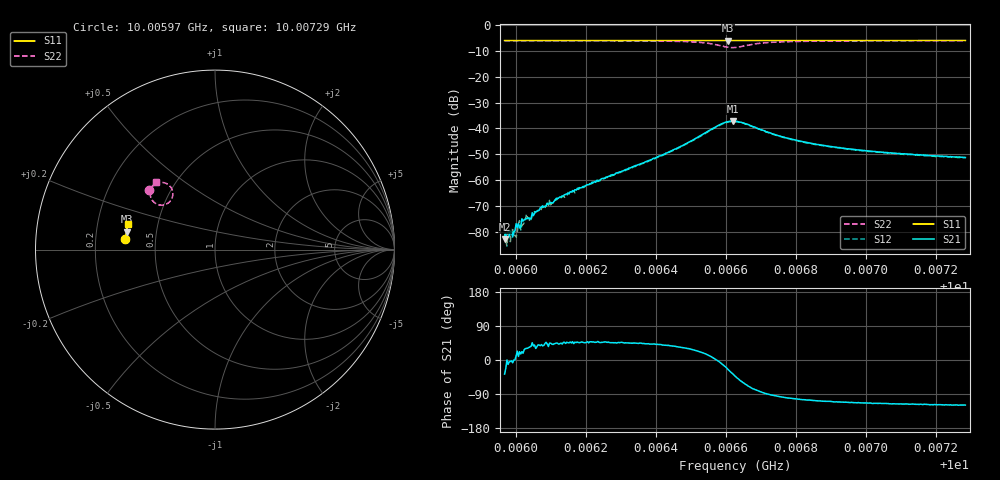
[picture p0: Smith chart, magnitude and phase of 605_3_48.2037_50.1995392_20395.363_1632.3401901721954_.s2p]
#  HZ  S  RI  R  50.00
! Rohde & Schwarz Vector Network Analyzer
! Rohde-Schwarz,ZNB20-2Port,1311601062101988,3.16
! Created: UTC 3/20/2024, 12:03:11 PM
! freq[Hz]  re:S11  im:S11  re:S21  im:S21  re:S12  im:S12  re:S22  im:S22
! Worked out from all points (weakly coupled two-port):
!   401 points, 10.00597 GHz to 10.00729 GHz, reference 50 ohm
!   highest |S21| = -37.15 dB at 10.00662 GHz (marker M1); lowest = -82.9 dB at 10.00597 GHz (marker M2)
!   lowest |S11| = -6.0 dB at 10.00661 GHz (marker M3), VSWR 3.02, Z = 16.7 + j4.45 ohm
!   |S11| at or under -10 dB: nowhere
!   |S22| runs from -8.7 to -6.0 dB; largest |S21 - S12| = 0.0011
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1.0005967e10  -0.4992 0.0586  5.71e-05 -4.3e-05  8.4e-05 -4.11e-05  -0.3697 0.3341
1.000599e10  -0.499 0.0601  7.83e-05 -9.81e-06  0.000118 8.71e-06  -0.3683 0.3355
1.0005996e10  -0.4991 0.0606  0.000103 5.42e-07  8.28e-05 2.11e-05  -0.368 0.336
1.0006013e10  -0.499 0.0616  0.000117 3.36e-05  0.000106 2.04e-05  -0.3669 0.337
1.000602e10  -0.499 0.0622  0.000153 4.98e-05  0.00011 8.49e-05  -0.3665 0.3375
1.0006023e10  -0.4989 0.0624  0.000151 7.72e-05  0.000129 7.32e-05  -0.3666 0.3377
1.0006029e10  -0.4989 0.0627  0.000154 9.1e-05  0.000187 0.00011  -0.366 0.3382
1.0006043e10  -0.4988 0.0636  0.000146 0.000107  0.000132 0.000112  -0.3651 0.339
1.0006059e10  -0.4985 0.0646  0.000203 0.000143  0.000144 0.000199  -0.3643 0.34
1.0006118e10  -0.4983 0.0685  0.000312 0.000301  0.00031 0.000322  -0.3604 0.3443
1.0006188e10  -0.4977 0.073  0.00048 0.000529  0.000464 0.000539  -0.3551 0.3492
1.0006408e10  -0.4957 0.0874  0.00221 0.0019  0.00205 0.00194  -0.3269 0.3687
1.0006481e10  -0.4949 0.0923  0.00411 0.00257  0.00389 0.0027  -0.3039 0.3743
1.000654e10  -0.4939 0.096  0.00779 0.00235  0.0075 0.00261  -0.2674 0.3664
1.0006606e10  -0.4925 0.0995  0.0123 -0.00576  0.0123 -0.00488  -0.2402 0.2844
1.0006619e10  -0.4924 0.1001  0.0112 -0.00824  0.0115 -0.00743  -0.2554 0.2639
1.0006626e10  -0.4924 0.1005  0.0101 -0.00936  0.0105 -0.00836  -0.2657 0.2563
1.0006698e10  -0.4925 0.1049  0.00107 -0.00946  0.00146 -0.00938  -0.3509 0.2768
1.0006761e10  -0.4919 0.1091  -0.000945 -0.00684  -0.000569 -0.0068  -0.3609 0.3096
1.0006847e10  -0.4912 0.1146  -0.00144 -0.00488  -0.00119 -0.00487  -0.3574 0.3334
1.0007068e10  -0.4881 0.1287  -0.00144 -0.00301  -0.00128 -0.00307  -0.3429 0.3606
1.0007285e10  -0.4847 0.1426  -0.00133 -0.00239  -0.00122 -0.00241  -0.3301 0.3758
